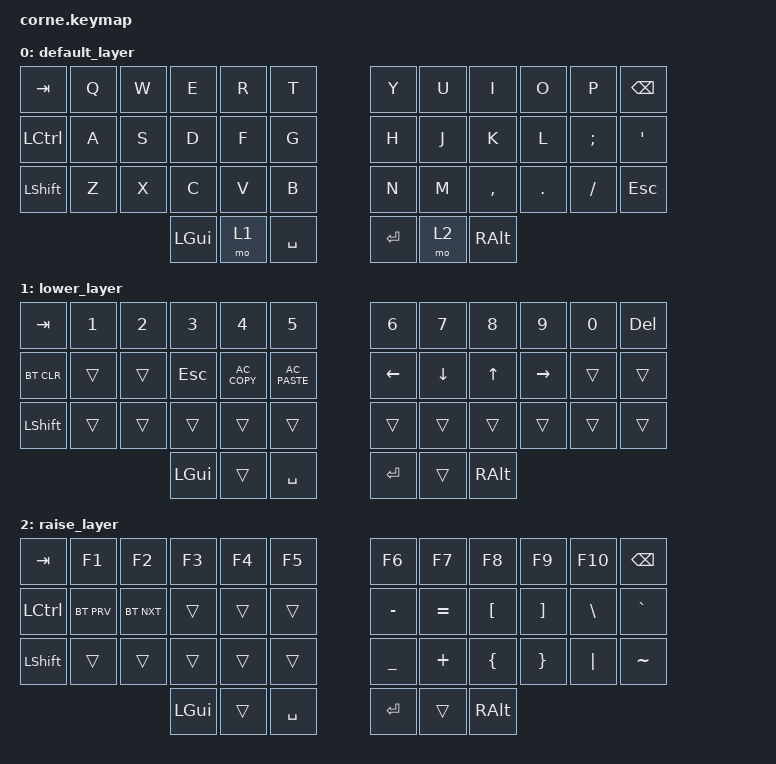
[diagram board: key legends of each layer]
/*
 * Copyright (c) 2020 The ZMK Contributors
 *
 * SPDX-License-Identifier: MIT
 */

#include <behaviors.dtsi>
#include <dt-bindings/zmk/bt.h>
#include <dt-bindings/zmk/keys.h>

/ {
    keymap {
        compatible = "zmk,keymap";

        default_layer {
            // -----------------------------------------------------------------------------------------
            // |  TAB |  Q  |  W  |  E  |  R  |  T  |   |  Y  |  U   |  I  |  O  |  P  | BKSP |
            // | CTRL |  A  |  S  |  D  |  F  |  G  |   |  H  |  J   |  K  |  L  |  ;  |  '   |
            // | SHFT |  Z  |  X  |  C  |  V  |  B  |   |  N  |  M   |  ,  |  .  |  /  | ESC  |
            //                    | GUI | LWR | SPC |   | ENT | RSE  | ALT |

            bindings = <
&kp TAB    &kp Q  &kp W  &kp E     &kp R  &kp T        &kp Y    &kp U  &kp I      &kp O    &kp P     &kp BSPC
&kp LCTRL  &kp A  &kp S  &kp D     &kp F  &kp G        &kp H    &kp J  &kp K      &kp L    &kp SEMI  &kp SQT
&kp LSHFT  &kp Z  &kp X  &kp C     &kp V  &kp B        &kp N    &kp M  &kp COMMA  &kp DOT  &kp FSLH  &kp ESC
                         &kp LGUI  &mo 1  &kp SPACE    &kp RET  &mo 2  &kp RALT
            >;
        };

        lower_layer {
            // -----------------------------------------------------------------------------------------
            // |  TAB |  1  |  2  |  3  |  4  |  5  |   |  6  |  7  |  8  |  9  |  0  | BKSP |
            // | BTCLR| F1  | F2  | F3  | F4  | F5  |   | LFT | DWN |  UP | RGT |     |      |
            // | SHFT | F6  | F7  | F8  | F9  |     |   |     |     |     |     |     |      |
            //                    | GUI |     | SPC |   | ENT |     | ALT |

            bindings = <
&kp TAB     &kp N1  &kp N2  &kp N3      &kp N4         &kp N5            &kp N6    &kp N7    &kp N8    &kp N9     &kp N0  &kp DELETE
&bt BT_CLR  &trans  &trans  &kp ESCAPE  &kp C_AC_COPY  &kp C_AC_PASTE    &kp LEFT  &kp DOWN  &kp UP    &kp RIGHT  &trans  &trans
&kp LSHFT   &trans  &trans  &trans      &trans         &trans            &trans    &trans    &trans    &trans     &trans  &trans
                            &kp LGUI    &trans         &kp SPACE         &kp RET   &trans    &kp RALT
            >;
        };

        raise_layer {
            // -----------------------------------------------------------------------------------------
            // |  TAB |  !  |  @  |  #  |  $  |  %  |   |  ^  |  &  |  *  |  (  |  )  | BKSP |
            // | CTRL |     |     |     |     |     |   |  -  |  =  |  [  |  ]  |  \  |  `   |
            // | SHFT |     |     |     |     |     |   |  _  |  +  |  {  |  }  | "|" |  ~   |
            //                    | GUI |     | SPC |   | ENT |     | ALT |

            bindings = <
&kp TAB    &kp F1      &kp F2      &kp F3    &kp F4  &kp F5       &kp F6     &kp F7     &kp F8    &kp F9    &kp F10   &kp BSPC
&kp LCTRL  &bt BT_PRV  &bt BT_NXT  &trans    &trans  &trans       &kp MINUS  &kp EQUAL  &kp LBKT  &kp RBKT  &kp BSLH  &kp GRAVE
&kp LSHFT  &trans      &trans      &trans    &trans  &trans       &kp UNDER  &kp PLUS   &kp LBRC  &kp RBRC  &kp PIPE  &kp TILDE
                                   &kp LGUI  &trans  &kp SPACE    &kp RET    &trans     &kp RALT
            >;
        };
    };
};
